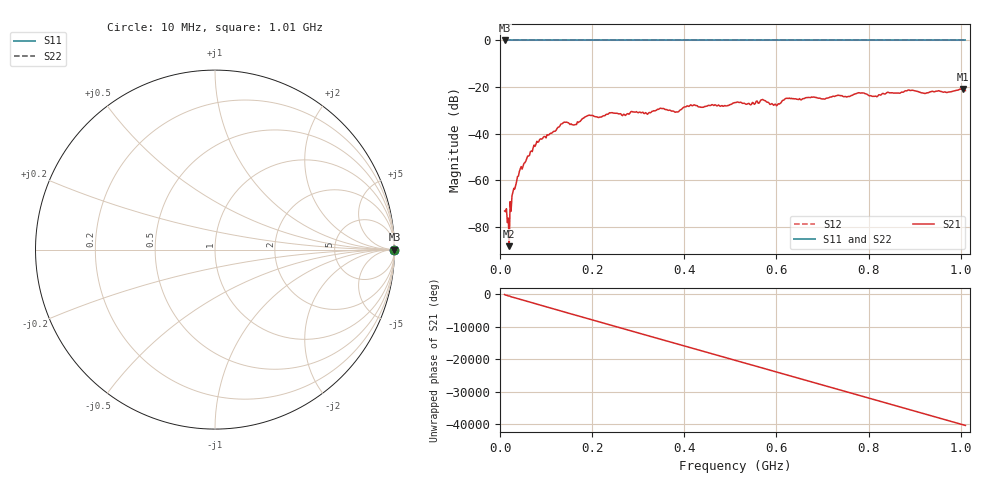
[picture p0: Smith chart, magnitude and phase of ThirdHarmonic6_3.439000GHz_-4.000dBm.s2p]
! 8/17/2025 11:04:45 AM
! C:\ANRITSUVNA\TEMP\TEMP.S2P
! CHANNEL.1
! TR.MEASUREMENT
! RAW.DATA
! RF.CORRECTION.OFF
! AVERAGING.OFF
! IF.BANDWIDTH: 5KHZ
! SWEEPTYPE:  FREQ.SWEEP(Linear)
! Reference Plane Port Info
! PORT:  PORT1  PORT2
! DISTANCE:  0  m  0  m
! TIME:  0  s  0  s
! PHASE.OFFSET:  0  deg.  0  deg.
! LOSS:  0  dB  0  dB
! REF.LOSS:  0  dB  0  dB
! REF.FREQ:  0  Hz  0  Hz
! Power Info
! POWER:  -20  dBm  -20  dBm
! EFF.POWER:  -20  dBm  -20  dBm
! SOURCE.ATTEN:  0  dB  0  dB
! TEST.ATTEN:  0  dB  0  dB
# GHZ S RI R 50.0
! FREQ.GHZ  S11RE  S11IM  S21RE  S21IM  S12RE  S12IM  S22RE  S22IM
!; PortSelection: Port_12
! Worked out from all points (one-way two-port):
!   501 points, 10 MHz to 1.01 GHz, reference 50 ohm
!   highest |S21| = -20.87 dB at 1.004 GHz (marker M1); lowest = -88.3 dB at 20 MHz (marker M2)
!   lowest |S11| = 0.0 dB at 10 MHz (marker M3)
!   |S11| at or under -10 dB: nowhere
!   |S22| runs from 0.0 to 0.0 dB; largest |S21 - S12| = 1.1
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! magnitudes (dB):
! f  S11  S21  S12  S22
! 10 MHz  0.0  -73.2  0.0  0.0
! 16 MHz  0.0  -78.2  0.0  0.0
! 20 MHz  0.0  -88.3  0.0  0.0
! 26 MHz  0.0  -66.8  0.0  0.0
! 42 MHz  0.0  -56.3  0.0  0.0
! 76 MHz  0.0  -45.5  0.0  0.0
! 136 MHz  0.0  -35.6  0.0  0.0
! 162 MHz  0.0  -36.2  0.0  0.0
! 178 MHz  0.0  -33.7  0.0  0.0
! 194 MHz  0.0  -32.1  0.0  0.0
! 318 MHz  0.0  -31.3  0.0  0.0
! 344 MHz  0.0  -29.6  0.0  0.0
! 384 MHz  0.0  -30.7  0.0  0.0
! 410 MHz  0.0  -28.3  0.0  0.0
! 510 MHz  0.0  -26.6  0.0  0.0
! 570 MHz  0.0  -25.3  0.0  0.0
! 598 MHz  0.0  -27.4  0.0  0.0
! 622 MHz  0.0  -24.8  0.0  0.0
! 678 MHz  0.0  -24.4  0.0  0.0
! 844 MHz  0.0  -22.4  0.0  0.0
! 1.004 GHz  0.0  -20.9  0.0  0.0
! 1.01 GHz  0.0  -21.5  0.0  0.0
